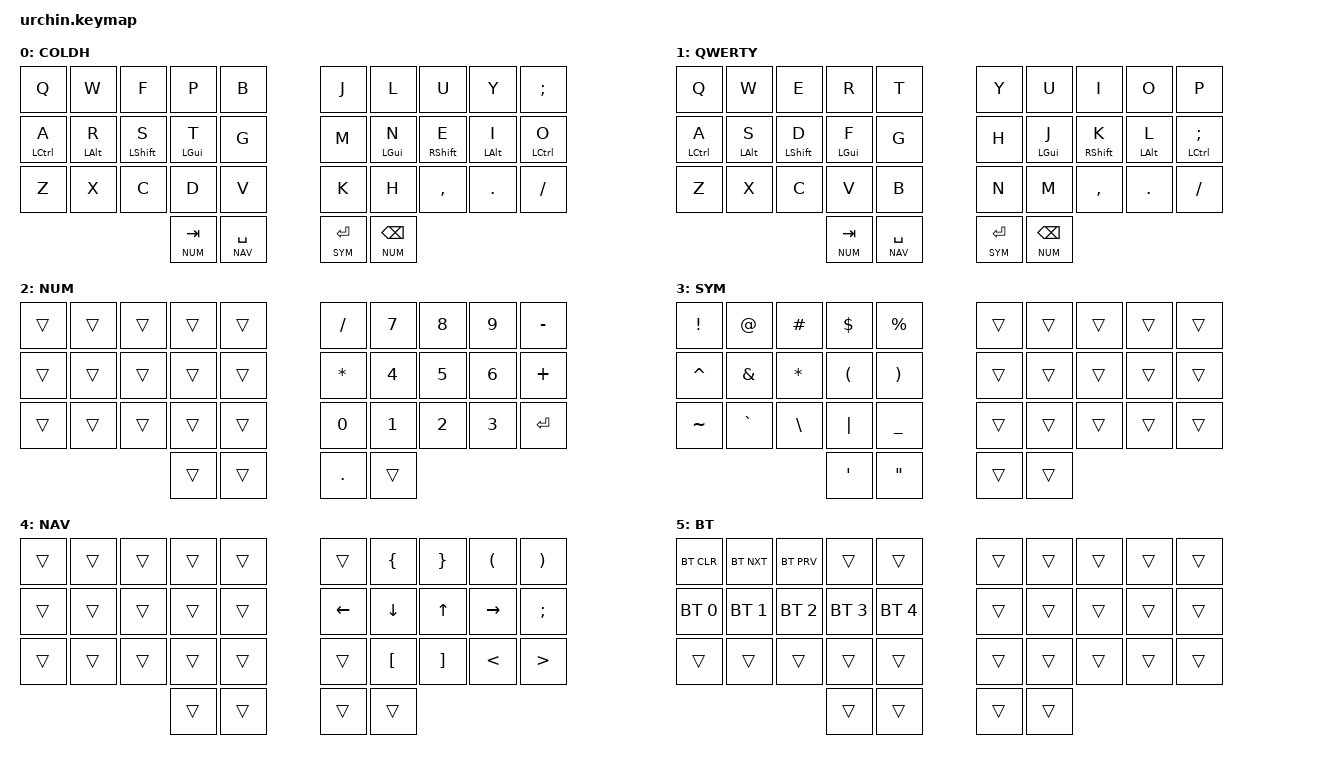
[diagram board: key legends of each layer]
/*
 * Copyright (c) 2020 duckyb
 *
 * SPDX-License-Identifier: MIT
 */

#include <behaviors.dtsi>
#include <dt-bindings/zmk/keys.h>
#include <dt-bindings/zmk/bt.h>
#include <dt-bindings/zmk/outputs.h>

#define COLEMAK_DH 0
#define QWERTY 1
#define NUM 2
#define SYM 3
#define NAV 4
#define BT 5

&mt {
    flavor = "tap-preferred";
    tapping-term-ms = <200>;
};
/ {
        combos {
            compatible = "zmk,combos";

            combo_bt_layer {
                timeout-ms = <100>;
                key-positions = <9 29>;
                bindings = <&mo BT>;
            };
            combo_qwerty_layer {
                timeout-ms = <100>;
                key-positions = <0 20>;
                bindings = <&tog QWERTY>;
            };

            combo_esc {
                timeout-ms = <100>;
                key-positions = <10 19>;
                bindings = <&kp ESC>;
            };
    };

     keymap {
        compatible = "zmk,keymap";

        colemak_dh_layer {
            label = "COLDH";
            bindings = <
        &kp Q      &kp W      &kp F      &kp P         &kp B          &kp J      &kp L       &kp U        &kp Y     &kp SEMI
        &mt LCTRL A &mt LALT R &mt LSHIFT S &mt LGUI T &kp G          &kp M      &mt LGUI N &mt RSHIFT E &mt LALT I &mt LCTRL O
        &kp Z      &kp X      &kp C      &kp D         &kp V          &kp K      &kp H       &kp COMMA    &kp DOT   &kp FSLH
                                         &lt NUM TAB   &lt NAV SPACE  &lt SYM ENTER  &lt NUM BSPC
            >;
        };
        // Base alpha layer
       	qwerty_layer {
            label = "QWERTY";
		bindings = <
		&kp Q &kp W &kp E &kp R &kp T                         &kp Y &kp U  &kp I     &kp O   &kp P
		&mt LCTRL A &mt LALT S &mt LSHIFT D &mt LGUI F &kp G  &kp H &mt LGUI J  &mt RSHIFT K     &mt LALT L &mt LCTRL SEMI
		&kp Z &kp X &kp C &kp V &kp B                         &kp N &kp M  &kp COMMA &kp DOT &kp FSLH
                            &lt NUM TAB   &lt NAV SPACE       &lt SYM ENTER  &lt NUM BSPC
		>;
		};


        NUM {
            label = "NUM";
            bindings = <
            &trans     &trans     &trans     &trans     &trans       &kp FSLH   &kp N7     &kp N8     &kp N9   &kp MINUS
            &trans     &trans     &trans     &trans     &trans       &kp STAR   &kp N4     &kp N5     &kp N6   &kp PLUS
            &trans     &trans     &trans     &trans     &trans       &kp N0     &kp N1     &kp N2     &kp N3   &kp RET
                                             &trans     &trans       &kp DOT    &trans
            >;
        };

        SYM {
            label = "SYM";
            bindings = <
            &kp EXCL  &kp AT    &kp HASH  &kp DOLLAR &kp PRCNT           &trans     &trans     &trans     &trans    &trans
            &kp CARET &kp AMPS  &kp STAR  &kp LPAR   &kp RPAR            &trans     &trans     &trans     &trans    &trans
            &kp TILDE &kp GRAVE &kp BSLH  &kp PIPE   &kp UNDER           &trans     &trans     &trans     &trans    &trans
                                             &kp APOS    &kp DQT        &trans     &trans
            >;
        };

        NAV {
            label = "NAV";
            bindings = <
            &trans  &trans  &trans  &trans  &trans    &trans       &kp LBRC   &kp RBRC   &kp LPAR   &kp RPAR
            &trans  &trans  &trans  &trans  &trans    &kp LEFT     &kp DOWN   &kp UP   &kp RIGHT   &kp SEMI
            &trans  &trans  &trans  &trans  &trans    &trans       &kp LBKT   &kp RBKT   &kp LT     &kp GT
                             &trans    &trans         &trans     &trans
            >;
        };

        BT {
            label = "BT";
            bindings = <
    &bt BT_CLR  &bt BT_NXT  &bt BT_PRV  &trans  &trans    &trans                        &trans   &trans   &trans   &trans
    &bt BT_SEL 0  &bt BT_SEL 1  &bt BT_SEL 2  &bt BT_SEL 3  &bt BT_SEL 4    &trans     &trans   &trans   &trans   &trans
    &trans  &trans  &trans  &trans  &trans    &trans                        &trans   &trans   &trans     &trans
                                        &trans    &trans       &trans     &trans
            >;
        };


    };
};
